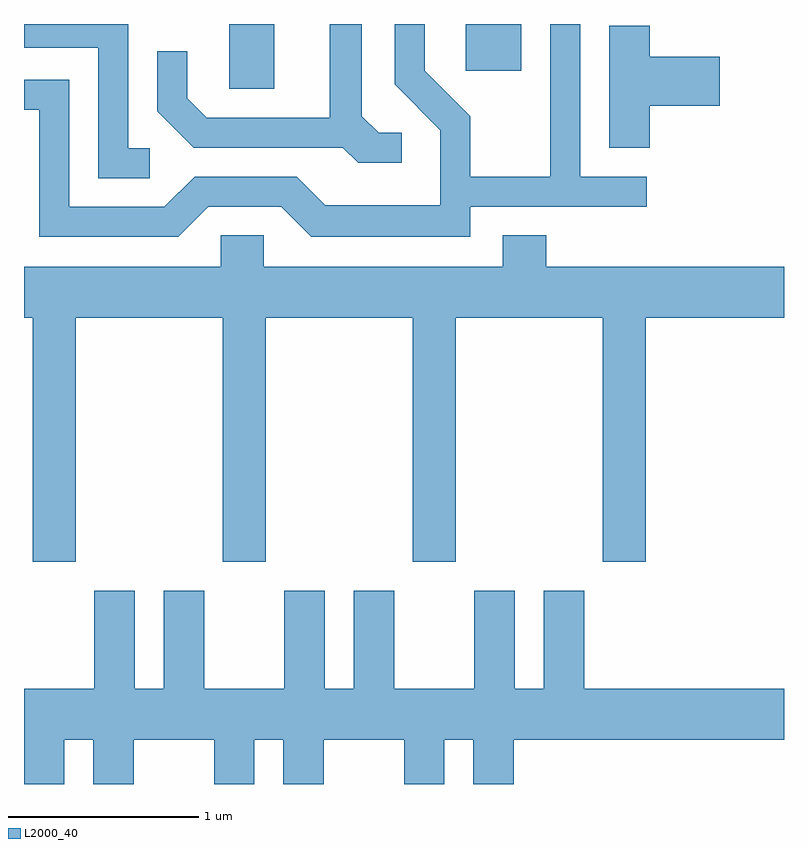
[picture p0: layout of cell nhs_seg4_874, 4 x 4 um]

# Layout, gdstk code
import gdstk
lib = gdstk.Library(unit=1e-6, precision=1e-09)
def R(c, l, rs):  # rectangles x0, y0, x1, y1
    for r in rs: c.add(gdstk.rectangle(r[:2], r[2:], *l))
def P(c, l, *ps):  # polygons
    for p in ps: c.add(gdstk.Polygon(p, *l))
L2000_40 = (2000, 40)

nhs_seg4_874 = lib.new_cell('nhs_seg4_874')
R(nhs_seg4_874, L2000_40, [(210.691,1373.641,210.929,1373.982), (211.936,1373.736,212.229,1373.982)])
P(nhs_seg4_874, L2000_40, [(210.273,1373.329),(210.159,1373.329),(210.159,1373.982),(209.611,1373.982),(209.611,1373.856),(210.001,1373.856),(210.001,1373.171),(210.273,1373.171)],
  [(210.582,1373.021),(210.964,1373.021),(211.124,1372.861),(211.959,1372.861),(211.959,1373.021),(212.888,1373.021),(212.888,1373.179),(212.539,1373.179),(212.539,1373.982),(212.381,1373.982),(212.381,1373.179),(211.959,1373.179),(211.959,1373.497),(211.719,1373.737),(211.719,1373.982),(211.561,1373.982),(211.561,1373.664),(211.801,1373.424),(211.801,1373.029),(211.197,1373.029),(211.047,1373.179),(210.509,1373.179),(210.349,1373.019),(209.849,1373.019),(209.849,1373.689),(209.611,1373.689),(209.611,1373.531),(209.691,1373.531),(209.691,1372.861),(210.422,1372.861)],
  [(211.598,1373.409),(211.477,1373.409),(211.389,1373.497),(211.389,1373.982),(211.221,1373.982),(211.221,1373.489),(210.572,1373.489),(210.469,1373.592),(210.469,1373.838),(210.311,1373.838),(210.311,1373.524),(210.504,1373.331),(211.289,1373.331),(211.369,1373.251),(211.598,1373.251)],
  [(212.904,1373.551),(213.274,1373.551),(213.274,1373.809),(212.904,1373.809),(212.904,1373.974),(212.691,1373.974),(212.691,1373.331),(212.904,1373.331)],
  [(209.884,1372.436),(210.656,1372.436),(210.656,1371.151),(210.884,1371.151),(210.884,1372.436),(211.656,1372.436),(211.656,1371.151),(211.884,1371.151),(211.884,1372.436),(212.656,1372.436),(212.656,1371.151),(212.884,1371.151),(212.884,1372.436),(213.611,1372.436),(213.611,1372.704),(212.359,1372.704),(212.359,1372.869),(212.131,1372.869),(212.131,1372.704),(210.874,1372.704),(210.874,1372.869),(210.646,1372.869),(210.646,1372.704),(209.611,1372.704),(209.611,1372.436),(209.656,1372.436),(209.656,1371.151),(209.884,1371.151)],
  [(209.824,1370.216),(209.976,1370.216),(209.976,1369.982),(210.189,1369.982),(210.189,1370.216),(210.611,1370.216),(210.611,1369.982),(210.824,1369.982),(210.824,1370.216),(210.976,1370.216),(210.976,1369.982),(211.189,1369.982),(211.189,1370.216),(211.611,1370.216),(211.611,1369.982),(211.824,1369.982),(211.824,1370.216),(211.976,1370.216),(211.976,1369.982),(212.189,1369.982),(212.189,1370.216),(213.611,1370.216),(213.611,1370.484),(212.559,1370.484),(212.559,1370.999),(212.346,1370.999),(212.346,1370.484),(212.194,1370.484),(212.194,1370.999),(211.981,1370.999),(211.981,1370.484),(211.559,1370.484),(211.559,1370.999),(211.346,1370.999),(211.346,1370.484),(211.194,1370.484),(211.194,1370.999),(210.981,1370.999),(210.981,1370.484),(210.559,1370.484),(210.559,1370.999),(210.346,1370.999),(210.346,1370.484),(210.194,1370.484),(210.194,1370.999),(209.981,1370.999),(209.981,1370.484),(209.611,1370.484),(209.611,1369.982),(209.824,1369.982)])

lib.write_gds('nhs_seg4_874.gds')
